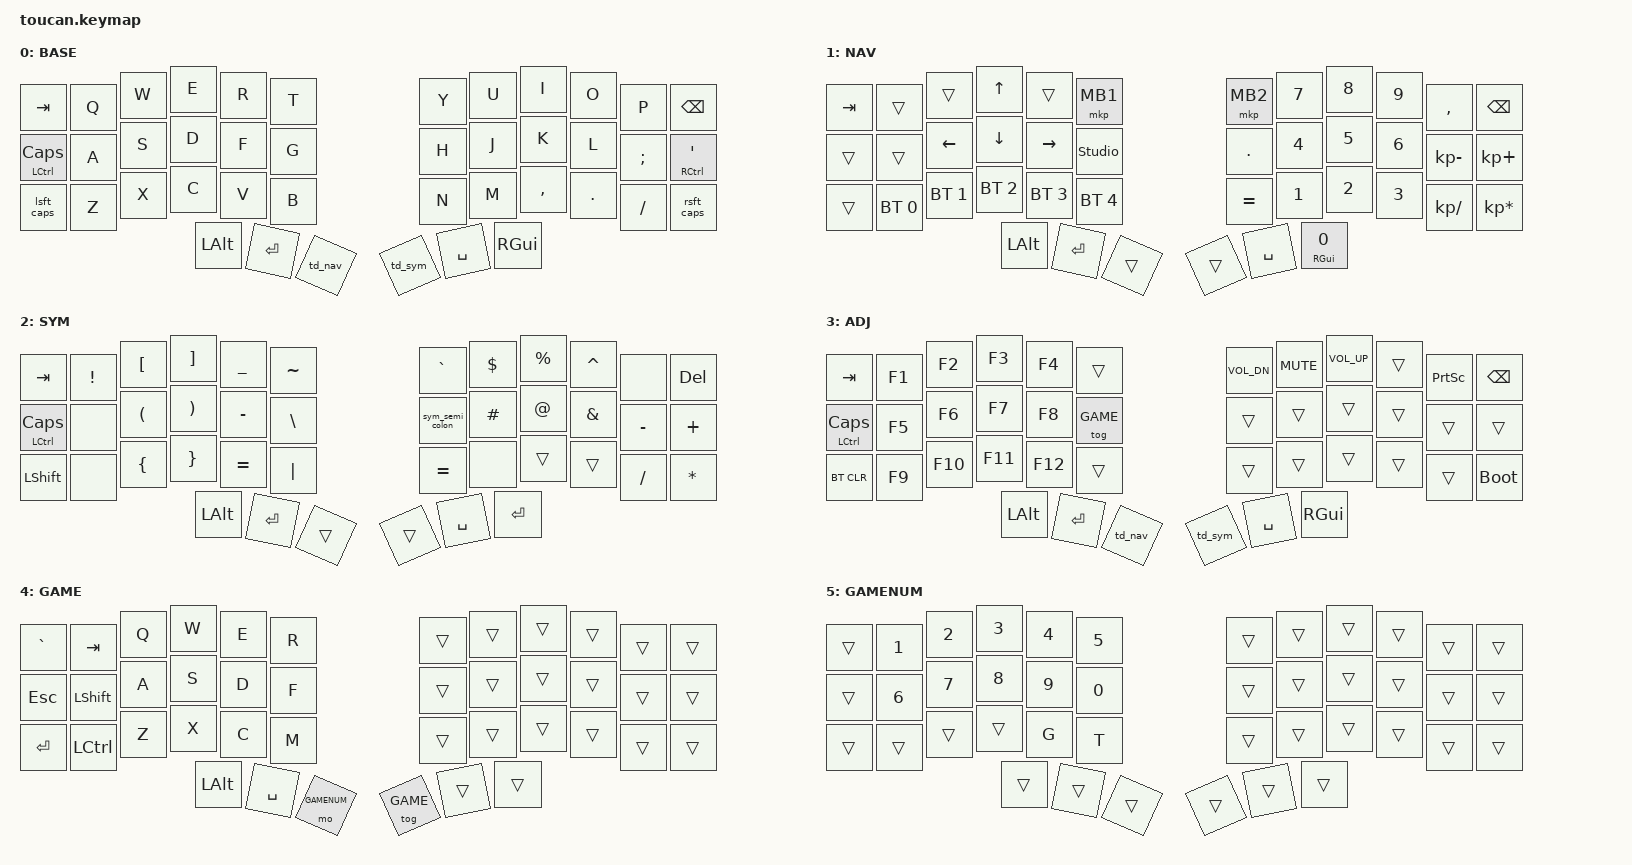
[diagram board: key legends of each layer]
#include <behaviors.dtsi>
#include <dt-bindings/zmk/keys.h>
#include <dt-bindings/zmk/modifiers.h>
#include <dt-bindings/zmk/bt.h>
#include <dt-bindings/zmk/outputs.h>
#include <dt-bindings/zmk/pointing.h>

#define BASE    0
#define NAV     1
#define SYM     2
#define ADJ     3
#define GAME    4
#define GAMENUM 5

/ {
    conditional_layers {
        compatible = "zmk,conditional-layers";
        tri_layer {
            if-layers = <1 2>;
            then-layer = <3>;
        };
    };

    combos {
        compatible = "zmk,combos";
        combo_cut {
            timeout-ms = <50>;
            require-prior-idle-ms = <125>;
            key-positions = <25 26>;
            bindings = <&kp LC(X)>;
            layers = <0>;
        };
        combo_copy {
            timeout-ms = <50>;
            require-prior-idle-ms = <125>;
            key-positions = <26 27>;
            bindings = <&kp LC(C)>;
            layers = <0>;
        };
        combo_paste {
            timeout-ms = <50>;
            require-prior-idle-ms = <125>;
            key-positions = <27 28>;
            bindings = <&kp LC(V)>;
            layers = <0>;
        };
    };

    behaviors {
        td_nav: tap_dance_nav {
            compatible = "zmk,behavior-tap-dance";
            #binding-cells = <0>;
            tapping-term-ms = <200>;
            bindings = <&mo 1>, <&tog 1>;
        };
        td_sym: tap_dance_sym {
            compatible = "zmk,behavior-tap-dance";
            #binding-cells = <0>;
            tapping-term-ms = <200>;
            bindings = <&mo 2>, <&tog 2>;
        };
        mt_tp: mod_tap_tap_preferred {
            compatible = "zmk,behavior-hold-tap";
            #binding-cells = <2>;
            flavor = "tap-preferred";
            tapping-term-ms = <200>;
            quick-tap-ms = <175>;
            bindings = <&kp>, <&kp>;
        };
        // Each shift sends shift immediately (no combo withholding, so
        // held-shift + mouse-click is never swallowed). If the OTHER shift
        // is already held when this one is pressed, it morphs to ESC (the
        // host remaps ESC -> Caps Lock). mod-morph consumes the triggering
        // shift, so ESC should go out clean. Replaces the dual-shift combo.
        lsft_caps: left_shift_caps_morph {
            compatible = "zmk,behavior-mod-morph";
            #binding-cells = <0>;
            bindings = <&kp LSHFT>, <&kp ESC>;
            mods = <(MOD_RSFT)>;
        };
        rsft_caps: right_shift_caps_morph {
            compatible = "zmk,behavior-mod-morph";
            #binding-cells = <0>;
            bindings = <&kp RSHFT>, <&kp ESC>;
            mods = <(MOD_LSFT)>;
        };
        // Neither ; nor : is otherwise reachable on SYM — the ; key
        // carries MINUS to match NAV's KP_MINUS position. Without this,
        // ); and ): force a layer release mid-expression.
        sym_semi_colon: sym_semi_colon_morph {
            compatible = "zmk,behavior-mod-morph";
            #binding-cells = <0>;
            bindings = <&kp SEMI>, <&kp COLON>;
            mods = <(MOD_LSFT|MOD_RSFT)>;
        };
    };

    keymap {
        compatible = "zmk,keymap";

        base {
            display-name = "BASE";
            bindings = <
                &kp TAB   &kp Q &kp W &kp E &kp R &kp T   &kp Y &kp U  &kp I     &kp O   &kp P    &kp BSPC
                &mt LCTRL CAPS &kp A &kp S &kp D &kp F &kp G   &kp H &kp J  &kp K     &kp L   &kp SEMI &mt_tp RCTRL SQT
                &lsft_caps &kp Z &kp X &kp C &kp V &kp B   &kp N &kp M  &kp COMMA &kp DOT &kp FSLH &rsft_caps
                                &kp LALT &kp RET &td_nav   &td_sym &kp SPACE &kp RGUI
            >;
        };

        nav {
            display-name = "NAV";
            bindings = <
                &kp TAB      &trans         &trans       &kp UP   &trans       &mkp MB1       &mkp MB2      &kp N7    &kp N8    &kp N9    &kp COMMA       &kp BSPC
                &trans       &trans         &kp LEFT     &kp DOWN &kp RIGHT    &studio_unlock &kp DOT       &kp N4    &kp N5    &kp N6    &kp KP_MINUS    &kp KP_PLUS
                &trans       &bt BT_SEL 0   &bt BT_SEL 1 &bt BT_SEL 2 &bt BT_SEL 3 &bt BT_SEL 4 &kp EQUAL     &kp N1    &kp N2    &kp N3    &kp KP_DIVIDE   &kp KP_MULTIPLY
                                                       &kp LALT &kp RET      &trans         &trans &kp SPACE &mt_tp RGUI N0
            >;
        };

        sym {
            display-name = "SYM";
            bindings = <
                &kp TAB        &kp EXCL &kp LBKT &kp RBKT &kp UNDER &kp TILDE   &kp GRAVE       &kp DLLR &kp PRCNT &kp CARET &none     &kp DEL
                &mt LCTRL CAPS &none    &kp LPAR &kp RPAR &kp MINUS &kp BSLH    &sym_semi_colon &kp HASH &kp AT    &kp AMPS  &kp MINUS &kp PLUS
                &kp LSHFT      &none    &kp LBRC &kp RBRC &kp EQUAL &kp PIPE    &kp EQUAL       &none    &trans    &trans    &kp FSLH  &kp ASTRK
                                                 &kp LALT &kp RET   &trans      &trans          &kp SPACE &kp RET
            >;
        };

        adj {
            display-name = "ADJ";
            bindings = <
                &kp TAB   &kp F1 &kp F2  &kp F3  &kp F4  &trans    &kp C_VOL_DN &kp C_MUTE  &kp C_VOL_UP &trans &kp PSCRN &kp BSPC
                &mt LCTRL CAPS &kp F5 &kp F6  &kp F7  &kp F8  &tog GAME &trans       &trans      &trans       &trans &trans &trans
                &bt BT_CLR &kp F9 &kp F10 &kp F11 &kp F12 &trans    &trans       &trans      &trans       &trans &trans &bootloader
                                   &kp LALT &kp RET &td_nav   &td_sym &kp SPACE &kp RGUI
            >;
        };
        game {
            display-name = "GAME";
            bindings = <
                &kp GRAVE &kp TAB   &kp Q  &kp W  &kp E     &kp R    &trans &trans &trans &trans &trans &trans
                &kp ESC   &kp LSHFT &kp A  &kp S  &kp D     &kp F    &trans &trans &trans &trans &trans &trans
                &kp RET   &kp LCTRL &kp Z  &kp X  &kp C     &kp M    &trans &trans &trans &trans &trans &trans
                                           &kp LALT &kp SPACE &mo GAMENUM   &tog GAME &trans &trans
            >;
        };

        gamenum {
            display-name = "GAMENUM";
            bindings = <
                &trans    &kp N1    &kp N2 &kp N3 &kp N4    &kp N5   &trans &trans &trans &trans &trans &trans
                &trans    &kp N6    &kp N7 &kp N8 &kp N9    &kp N0   &trans &trans &trans &trans &trans &trans
                &trans    &trans    &trans &trans &kp G     &kp T    &trans &trans &trans &trans &trans &trans
                                           &trans &trans    &trans   &trans &trans &trans
            >;
        };

        extra_3 {
                status = "reserved";
        };
    };
};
